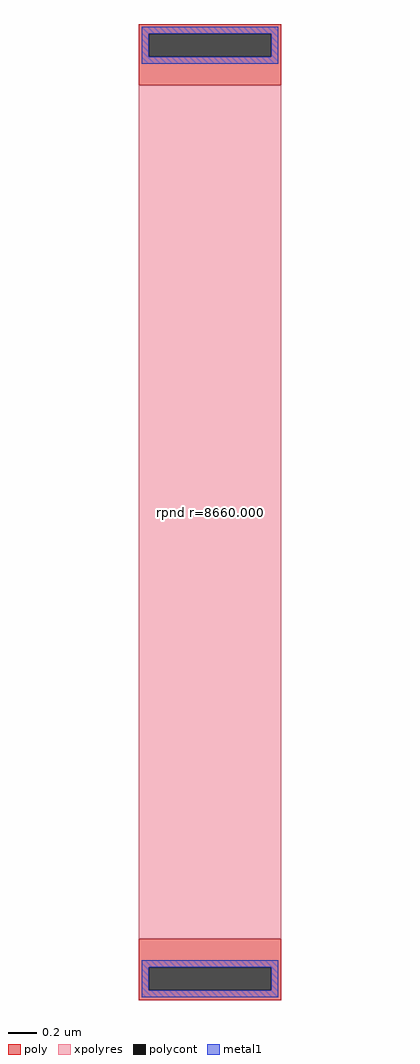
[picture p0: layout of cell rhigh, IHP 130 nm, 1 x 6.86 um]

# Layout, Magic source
magic
tech ihp-sg13g2
<< poly >>
rect 0 636 100 643
rect 0 620 7 636
rect 93 620 100 636
rect 0 600 100 620
rect 0 -20 100 0
rect 0 -36 7 -20
rect 93 -36 100 -20
rect 0 -43 100 -36
<< polycont >>
rect 7 620 93 636
rect 7 -36 93 -20
<< xpolyres >>
rect 0 0 100 600
<< metal1 >>
rect 2 636 98 641
rect 2 620 7 636
rect 93 620 98 636
rect 2 615 98 620
rect 2 -20 98 -15
rect 2 -36 7 -20
rect 93 -36 98 -20
rect 2 -41 98 -36
<< labels >>
flabel comment s 50 300 50 300 0 FreeSans 100 90 0 0 rpnd r=8660.000
<< properties >>
string GDS_END 1666
string GDS_FILE ../gds/rhigh.gds
string GDS_START 100
<< end >>
